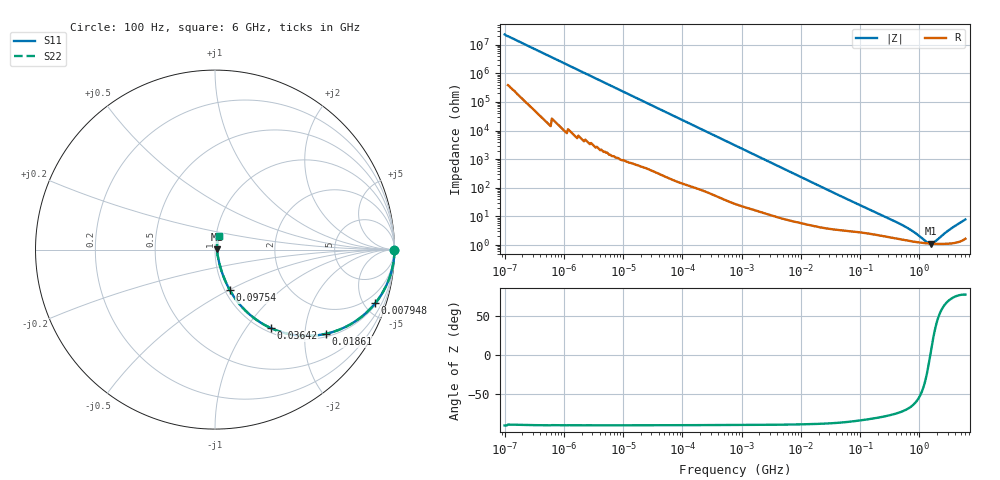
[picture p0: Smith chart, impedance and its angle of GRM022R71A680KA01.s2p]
!Murata Part Number: GRM022R71A680KA01
!These Parameters are Measured in Series Mode Connection
!Data Generated on Mar 30, 2021
!  o--ll--o
!Port1  Port2
!  o------o
!Operation Temp=25[degC], DC Bias Voltage=0[V]
!Freq. Start=100[Hz] Stop=6[GHz] 401[Steps]
# Hz S RI R 50
!Freq.(Hz) S11(Real) S11(Imag) S21(Real) S21(Imag) S12(Real) S12(Imag) S22(Real) S22(Imag)
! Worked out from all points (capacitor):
!   401 points, 100 Hz to 6 GHz, reference 50 ohm
!   read as one part in series: C = 70.7 pF near 109 Hz
!   lowest |Z| = 1.12 ohm at 1.566 GHz (marker M1)
!   series resonance near 1.532 GHz, so ESL is about 150 pH
!   S11 on the Smith chart (normalised r, x): 100 Hz: open; 7.948 MHz: 1.13, -5.94; 18.61 MHz: 1.09, -2.56; 36.42 MHz: 1.07, -1.32; 97.54 MHz: 1.06, -0.50; 6 GHz: 1.03, +0.15
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100  1 -4.4e-06  0 4.4e-06  0 4.4e-06  1 -4.4e-06
2008  1 -8.82e-05  4e-07 8.82e-05  4e-07 8.82e-05  1 -8.82e-05
2512  1 -0.00011  5e-07 0.00011  5e-07 0.00011  1 -0.00011
40335  1 -0.00176  1.26e-05 0.00176  1.26e-05 0.00176  1 -0.00176
774597  0.9986 -0.0333  0.00141 0.0333  0.00141 0.0333  0.9986 -0.0333
2837864  0.9839 -0.1191  0.0161 0.1191  0.0161 0.1191  0.9839 -0.1191
5079039  0.9521 -0.2049  0.0479 0.2049  0.0479 0.2049  0.9521 -0.2049
7947587  0.8929 -0.2985  0.1071 0.2985  0.1071 0.2985  0.8929 -0.2985
1.555665e7  0.6946 -0.4454  0.3054 0.4454  0.3054 0.4454  0.6946 -0.4454
1.86079e7  0.6171 -0.4693  0.3829 0.4693  0.3829 0.4693  0.6171 -0.4693
2.545746e7  0.4698 -0.4789  0.5302 0.4789  0.5302 0.4789  0.4698 -0.4789
3.64232e7  0.3121 -0.4377  0.6879 0.4377  0.6879 0.4377  0.3121 -0.4377
5.699437e7  0.1705 -0.3408  0.8295 0.3408  0.8295 0.3408  0.1705 -0.3408
9.753859e7  0.082 -0.2245  0.918 0.2245  0.918 0.2245  0.082 -0.2245
3.124326e8  0.0246 -0.0778  0.9754 0.0778  0.9754 0.0778  0.0246 -0.0778
6.395615e8  0.0152 -0.0352  0.9848 0.0352  0.9848 0.0352  0.0152 -0.0352
8.749838e8  0.0131 -0.0215  0.9869 0.0215  0.9869 0.0215  0.0131 -0.0215
1.309207e9  0.0114 -0.00589  0.9886 0.00589  0.9886 0.00589  0.0114 -0.00589
1.565993e9  0.0111 0.000846  0.9889 -0.000846  0.9889 -0.000846  0.0111 0.000846
1.873145e9  0.0109 0.0077  0.9891 -0.0077  0.9891 -0.0077  0.0109 0.0077
3.666503e9  0.0129 0.0385  0.9871 -0.0385  0.9871 -0.0385  0.0129 0.0385
6e9  0.0218 0.0735  0.9782 -0.0735  0.9782 -0.0735  0.0218 0.0735
